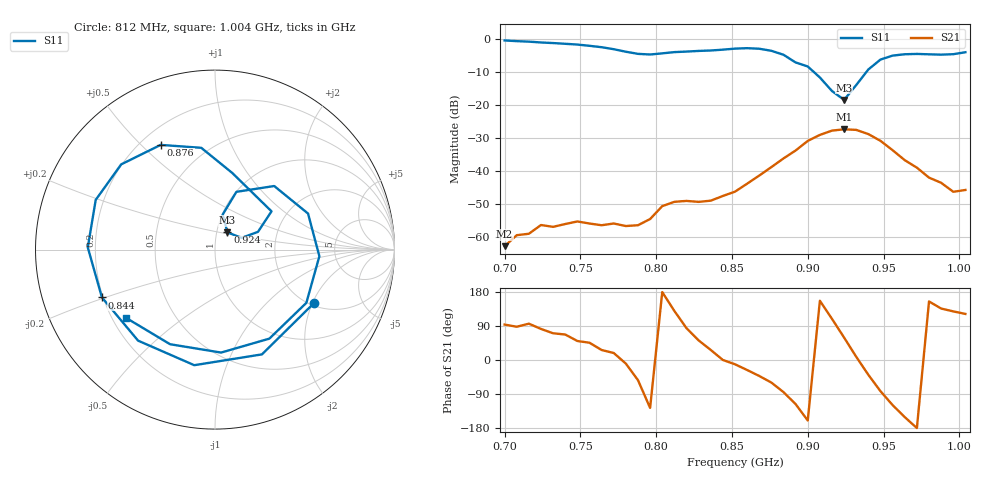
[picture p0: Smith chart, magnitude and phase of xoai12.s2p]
# Hz S RI R 50
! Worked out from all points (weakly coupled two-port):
!   39 points, 700 MHz to 1.004 GHz, reference 50 ohm
!   highest |S21| = -27.42 dB at 924 MHz (marker M1); lowest = -62.8 dB at 700 MHz (marker M2)
!   lowest |S11| = -18.5 dB at 924 MHz (marker M3), VSWR 1.27, Z = 56.3 + j11 ohm
!   |S11| at or under -10 dB: 903.9 MHz to 938.8 MHz (34.94 MHz wide, 3.79 % of centre)
!   S12 and S22 are empty: the file has one direction only
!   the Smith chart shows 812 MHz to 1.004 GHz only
!   S11 on the Smith chart (normalised r, x): 812 MHz: 2.11, -2.06; 844 MHz: 0.20, -0.20; 876 MHz: 0.28, +0.57; 924 MHz: 1.13, +0.22; 1.004 GHz: 0.26, -0.32
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7e8  0.7607 0.5565  -4.41e-05 0.000721  0 0  0 0
7.24e8  0.8427 -0.2479  0.00021 0.0015  0 0  0 0
7.4e8  0.4581 -0.7026  0.000605 0.00144  0 0  0 0
7.56e8  -0.1955 -0.7574  0.00111 0.00114  0 0  0 0
7.72e8  -0.6674 -0.1933  0.00151 0.000505  0 0  0 0
7.8e8  -0.5924 0.2313  0.00144 -0.000242  0 0  0 0
7.88e8  -0.2385 0.5402  0.000896 -0.0012  0 0  0 0
7.96e8  0.2516 0.5201  -0.0011 -0.0015  0 0  0 0
8.04e8  0.5783 0.1634  -0.00292 3.84e-05  0 0  0 0
8.12e8  0.5535 -0.296  -0.00215 0.00262  0 0  0 0
8.28e8  -0.1154 -0.644  0.0021 0.00266  0 0  0 0
8.44e8  -0.6299 -0.2666  0.00416 6.63e-06  0 0  0 0
8.52e8  -0.7088 0.0123  0.00474 -0.000947  0 0  0 0
8.76e8  -0.3028 0.5834  0.00576 -0.00982  0 0  0 0
9e8  0.3148 0.2133  -0.0266 -0.00987  0 0  0 0
9.08e8  0.2396 0.099  -0.0321 0.014  0 0  0 0
9.24e8  0.0696 0.0963  0.0219 0.0365  0 0  0 0
9.48e8  0.3299 0.3543  0.00374 -0.0282  0 0  0 0
9.56e8  0.5184 0.2008  -0.00996 -0.0179  0 0  0 0
9.64e8  0.5815 -0.037  -0.0126 -0.00708  0 0  0 0
9.8e8  0.3029 -0.496  -0.00712 0.0034  0 0  0 0
1.004e9  -0.4958 -0.3803  -0.00269 0.00437  0 0  0 0
